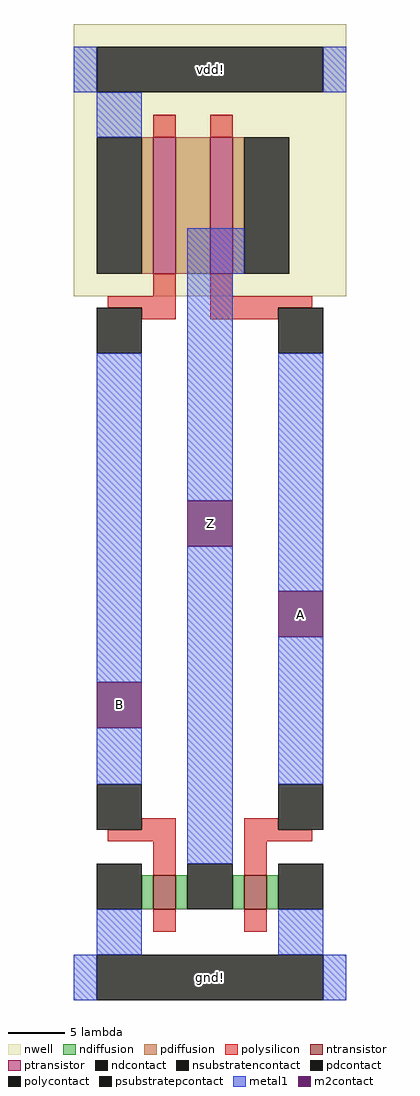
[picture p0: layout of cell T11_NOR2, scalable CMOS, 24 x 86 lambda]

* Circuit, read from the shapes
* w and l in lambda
.subckt T11_NOR2 A B Z gnd! vdd!
M1 Z B gnd! gnd! nfet w=3 l=2
M2 gnd! A Z gnd! nfet w=3 l=2
M3 n1 B vdd! vdd! pfet w=12 l=2
M4 Z A n1 vdd! pfet w=12 l=2
.ends

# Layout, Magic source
magic
tech scmos
<< nwell >>
rect 0 64 24 88
<< polysilicon >>
rect 7 78 9 80
rect 12 78 14 80
rect 7 64 9 66
rect 3 63 9 64
rect 6 62 9 63
rect 12 64 14 66
rect 12 63 21 64
rect 12 62 18 63
rect 6 17 9 18
rect 3 16 9 17
rect 7 13 9 16
rect 15 17 18 18
rect 15 16 21 17
rect 15 13 17 16
rect 7 8 9 10
rect 15 8 17 10
<< ndiffusion >>
rect 6 10 7 13
rect 9 10 10 13
rect 14 10 15 13
rect 17 10 18 13
<< pdiffusion >>
rect 6 66 7 78
rect 9 66 12 78
rect 14 66 15 78
<< metal1 >>
rect 0 82 2 86
rect 22 82 24 86
rect 2 78 6 82
rect 10 66 15 70
rect 2 30 6 59
rect 2 21 6 26
rect 10 46 14 66
rect 10 14 14 42
rect 18 38 22 59
rect 18 21 22 34
rect 2 6 6 10
rect 18 6 22 10
rect 0 2 2 6
rect 22 2 24 6
<< ntransistor >>
rect 7 10 9 13
rect 15 10 17 13
<< ptransistor >>
rect 7 66 9 78
rect 12 66 14 78
<< polycontact >>
rect 2 59 6 63
rect 18 59 22 63
rect 2 17 6 21
rect 18 17 22 21
<< ndcontact >>
rect 2 10 6 14
rect 10 10 14 14
rect 18 10 22 14
<< pdcontact >>
rect 2 66 6 78
rect 15 66 19 78
<< m2contact >>
rect 2 26 6 30
rect 10 42 14 46
rect 18 34 22 38
<< psubstratepcontact >>
rect 2 2 22 6
<< nsubstratencontact >>
rect 2 82 22 86
<< labels >>
rlabel psubstratepcontact 2 2 22 6 1 gnd!
rlabel nsubstratencontact 2 82 22 86 5 vdd!
rlabel m2contact 2 26 6 30 3 B
rlabel m2contact 18 34 22 38 1 A
rlabel m2contact 10 42 14 46 1 Z
<< end >>
